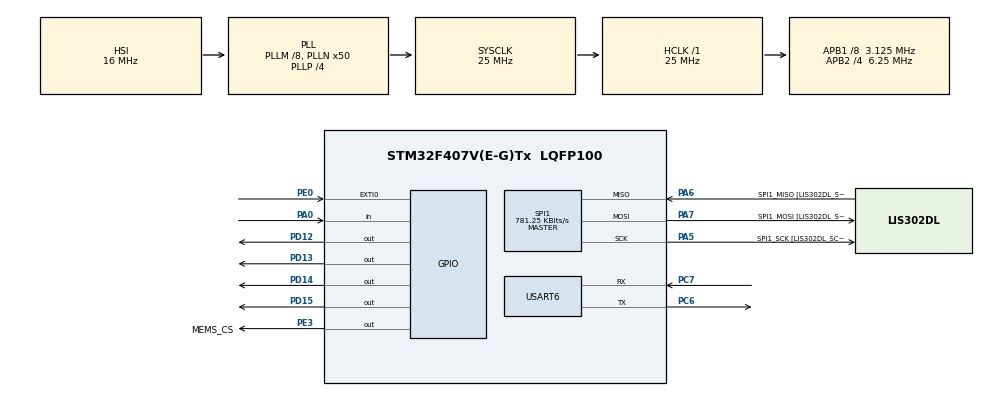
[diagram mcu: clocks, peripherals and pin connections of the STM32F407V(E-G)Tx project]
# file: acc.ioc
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Mcu.Family=STM32F4
Mcu.Name=STM32F407V(E-G)Tx
Mcu.Package=LQFP100
NVIC.PriorityGroup=NVIC_PRIORITYGROUP_0
NVIC.SPI1_IRQn=true\:0\:0\:false\:false\:true\:true\:true
NVIC.USART6_IRQn=true\:0\:0\:false\:false\:true\:true\:true
PA0-WKUP.Signal=GPIO_Input
PA5.GPIO_Label=SPI1_SCK [LIS302DL_SCL/SPC]
PA5.GPIO_Mode=GPIO_MODE_AF_PP
PA5.GPIO_PuPd=GPIO_NOPULL
PA5.GPIO_Speed=GPIO_SPEED_FREQ_LOW
PA5.Mode=Full_Duplex_Master
PA5.Signal=SPI1_SCK
PA6.GPIO_Label=SPI1_MISO [LIS302DL_SDO]
PA6.GPIO_Mode=GPIO_MODE_AF_PP
PA6.GPIO_PuPd=GPIO_NOPULL
PA6.GPIO_Speed=GPIO_SPEED_FREQ_LOW
PA6.Mode=Full_Duplex_Master
PA6.Signal=SPI1_MISO
PA7.GPIO_Label=SPI1_MOSI [LIS302DL_SDA/SDI/SDO]
PA7.GPIO_Mode=GPIO_MODE_AF_PP
PA7.GPIO_PuPd=GPIO_NOPULL
PA7.GPIO_Speed=GPIO_SPEED_FREQ_LOW
PA7.Mode=Full_Duplex_Master
PA7.Signal=SPI1_MOSI
PC6.Mode=Asynchronous
PC6.Signal=USART6_TX
PC7.Mode=Asynchronous
PC7.Signal=USART6_RX
PD12.Signal=GPIO_Output
PD13.Signal=GPIO_Output
PD14.Signal=GPIO_Output
PD15.Signal=GPIO_Output
PE0.Signal=GPXTI0
PE3.GPIO_Label=MEMS_CS
PE3.Signal=GPIO_Output
ProjectManager.HeapSize=0x200
ProjectManager.StackSize=0x400
ProjectManager.TargetToolchain=Makefile
RCC.48MHZClocksFreq_Value=33333333.333333332
RCC.AHBFreq_Value=25000000
RCC.APB1CLKDivider=RCC_HCLK_DIV8
RCC.APB1Freq_Value=3125000
RCC.APB1TimFreq_Value=6250000
RCC.APB2CLKDivider=RCC_HCLK_DIV4
RCC.APB2Freq_Value=6250000
RCC.APB2TimFreq_Value=12500000
RCC.CortexFreq_Value=25000000
RCC.HCLKFreq_Value=25000000
RCC.HSE_VALUE=8000000
RCC.HSI_VALUE=16000000
RCC.PLLM=8
RCC.PLLN=50
RCC.PLLP=RCC_PLLP_DIV4
RCC.PLLQ=3
RCC.SYSCLKFreq_VALUE=25000000
RCC.SYSCLKSource=RCC_SYSCLKSOURCE_PLLCLK
RCC.VCOOutputFreq_Value=100000000
SPI1.BaudRatePrescaler=SPI_BAUDRATEPRESCALER_8
SPI1.BaudRatePrescaler-Full_Duplex_Master=SPI_BAUDRATEPRESCALER_2
SPI1.CalculateBaudRate=781.25 KBits/s
SPI1.CalculateBaudRate-Full_Duplex_Master=42.0 MBits/s
SPI1.Direction=SPI_DIRECTION_2LINES
SPI1.Mode=SPI_MODE_MASTER
SPI1.Mode-Full_Duplex_Master=SPI_MODE_MASTER
SPI1.VirtualType=VM_MASTER
USART6.VirtualMode=VM_ASYNC
board=STM32F407G-DISC1

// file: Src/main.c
/* USER CODE BEGIN Header */
/**
  ******************************************************************************
  * @file           : main.c
  * @brief          : Main program body
  ******************************************************************************
  * @attention
  *
  * <h2><center>&copy; Copyright (c) 2020 STMicroelectronics.
  * All rights reserved.</center></h2>
  *
  * This software component is licensed by ST under Ultimate Liberty license
  * SLA0044, the "License"; You may not use this file except in compliance with
  * the License. You may obtain a copy of the License at:
  *                             www.st.com/SLA0044
  *
  ******************************************************************************
  */
/* USER CODE END Header */

#include "main.h"

/* USER CODE BEGIN Includes */
#include "LIS3DSH.h"

/* USER CODE END Includes */

SPI_HandleTypeDef hspi1;

UART_HandleTypeDef huart6;

void SystemClock_Config(void);
static void MX_GPIO_Init(void);
static void MX_SPI1_Init(void);
static void MX_USART6_UART_Init(void);

/* USER CODE BEGIN 0 */

LIS3DSH_DataScaled accData;
int8_t accMove[3];

void convertAccData(int8_t accMove[3], LIS3DSH_DataScaled *accData)
{
  accMove[0] = (int8_t) (accData->x / 10);
  if (accMove[0] < -100)
  {
    accMove[0] = -100;
  }
  else if (accMove[0] > 100)
  {
    accMove[0] = 100;
  }
  accMove[1] = (int8_t) (accData->y / 10);
  if (accMove[1] < -100)
  {
    accMove[1] = -100;
  }
  else if (accMove[1] > 100)
  {
    accMove[1] = 100;
  }
  accMove[2] = (int8_t) (accData->z / 10);
  if (accMove[2] < -100)
  {
    accMove[2] = -100;
  }
  else if (accMove[2] > 100)
  {
    accMove[2] = 100;
  }
}

// uint8_t recv_char = 0;

// void HAL_UART_RxCpltCallback(UART_HandleTypeDef *huart)
// {
//   switch (recv_car)
//   {
//   case 'q':
//     // Changer la vitesse du timer 2 (10 fois plus rapide)
//     __HAL_TIM_SET_AUTORELOAD(&htim2, 499);
//     // Restart counter
//     __HAL_TIM_SET_COUNTER(&htim2, 0);
//     break;
//   case 's':
//     // Changer la vitesse du timer 2 (vitesse initiale)
//     __HAL_TIM_SET_AUTORELOAD(&htim2, 4999);
//     // Restart counter
//     __HAL_TIM_SET_COUNTER(&htim2, 0);
//     break;
//   default:
//     break;
//   }
//   // Restart receiving data on USART6
//   HAL_UART_Receive_IT(&huart6, &recv_char, 1);
// }
/* USER CODE END 0 */

int main(void)
{
  /* USER CODE BEGIN 1 */
  LIS3DSH_InitTypeDef accConfigDef;
  /* USER CODE END 1 */

  /* MCU Configuration--------------------------------------------------------*/

  /* Reset of all peripherals int8_t[3], Initializes the Flash interface and the Systick. */
  HAL_Init();

  /* Configure the system clock */
  SystemClock_Config();

  /* Initialize all configured peripherals */
  MX_GPIO_Init();
  MX_SPI1_Init();
  MX_USART6_UART_Init();
  /* USER CODE BEGIN 2 */
  accConfigDef.dataRate = LIS3DSH_DATARATE_12_5;
  accConfigDef.fullScale = LIS3DSH_FULLSCALE_4;
  accConfigDef.antiAliasingBW = LIS3DSH_FILTER_BW_50;
  accConfigDef.enableAxes = LIS3DSH_XYZ_ENABLE;
  accConfigDef.interruptEnable = false;
  LIS3DSH_Init(&hspi1, &accConfigDef);

  LIS3DSH_X_calibrate(-980.0, 990.0);
  LIS3DSH_Y_calibrate(-1010.0, 955.0);
  LIS3DSH_Z_calibrate(-980.0, 975.0);
  // HAL_UART_Receive_IT(&huart6, &recv_car, 1);

  /* USER CODE END 2 */

  /* Infinite loop */
  while (1)
  {

    /* USER CODE BEGIN 3 */
    if (LIS3DSH_PollDRDY(1000))
    {
      accData = LIS3DSH_GetDataScaled();
      HAL_GPIO_TogglePin(GPIOD, GPIO_PIN_12);
    }
    convertAccData(&accMove, &accData);
    HAL_UART_Transmit(&huart6, &accMove, 3, 1000);
  }
  /* USER CODE END 3 */
}

void SystemClock_Config(void)
{
  RCC_OscInitTypeDef RCC_OscInitStruct = {0};
  RCC_ClkInitTypeDef RCC_ClkInitStruct = {0};

  /** Configure the main internal regulator output voltage
  */
  __HAL_RCC_PWR_CLK_ENABLE();
  __HAL_PWR_VOLTAGESCALING_CONFIG(PWR_REGULATOR_VOLTAGE_SCALE1);
  /** Initializes the CPU, AHB and APB busses clocks
  */
  RCC_OscInitStruct.OscillatorType = RCC_OSCILLATORTYPE_HSI;
  RCC_OscInitStruct.HSIState = RCC_HSI_ON;
  RCC_OscInitStruct.HSICalibrationValue = RCC_HSICALIBRATION_DEFAULT;
  RCC_OscInitStruct.PLL.PLLState = RCC_PLL_ON;
  RCC_OscInitStruct.PLL.PLLSource = RCC_PLLSOURCE_HSI;
  RCC_OscInitStruct.PLL.PLLM = 8;
  RCC_OscInitStruct.PLL.PLLN = 50;
  RCC_OscInitStruct.PLL.PLLP = RCC_PLLP_DIV4;
  RCC_OscInitStruct.PLL.PLLQ = 3;
  if (HAL_RCC_OscConfig(&RCC_OscInitStruct) != HAL_OK)
  {
    Error_Handler();
  }
  /** Initializes the CPU, AHB and APB busses clocks
  */
  RCC_ClkInitStruct.ClockType = RCC_CLOCKTYPE_HCLK | RCC_CLOCKTYPE_SYSCLK | RCC_CLOCKTYPE_PCLK1 | RCC_CLOCKTYPE_PCLK2;
  RCC_ClkInitStruct.SYSCLKSource = RCC_SYSCLKSOURCE_PLLCLK;
  RCC_ClkInitStruct.AHBCLKDivider = RCC_SYSCLK_DIV1;
  RCC_ClkInitStruct.APB1CLKDivider = RCC_HCLK_DIV8;
  RCC_ClkInitStruct.APB2CLKDivider = RCC_HCLK_DIV4;

  if (HAL_RCC_ClockConfig(&RCC_ClkInitStruct, FLASH_LATENCY_0) != HAL_OK)
  {
    Error_Handler();
  }
}

static void MX_SPI1_Init(void)
{

  /* SPI1 parameter configuration*/
  hspi1.Instance = SPI1;
  hspi1.Init.Mode = SPI_MODE_MASTER;
  hspi1.Init.Direction = SPI_DIRECTION_2LINES;
  hspi1.Init.DataSize = SPI_DATASIZE_8BIT;
  hspi1.Init.CLKPolarity = SPI_POLARITY_LOW;
  hspi1.Init.CLKPhase = SPI_PHASE_1EDGE;
  hspi1.Init.NSS = SPI_NSS_SOFT;
  hspi1.Init.BaudRatePrescaler = SPI_BAUDRATEPRESCALER_8;
  hspi1.Init.FirstBit = SPI_FIRSTBIT_MSB;
  hspi1.Init.TIMode = SPI_TIMODE_DISABLE;
  hspi1.Init.CRCCalculation = SPI_CRCCALCULATION_DISABLE;
  hspi1.Init.CRCPolynomial = 10;
  if (HAL_SPI_Init(&hspi1) != HAL_OK)
  {
    Error_Handler();
  }
}

static void MX_USART6_UART_Init(void)
{

  huart6.Instance = USART6;
  huart6.Init.BaudRate = 115200;
  huart6.Init.WordLength = UART_WORDLENGTH_8B;
  huart6.Init.StopBits = UART_STOPBITS_1;
  huart6.Init.Parity = UART_PARITY_NONE;
  huart6.Init.Mode = UART_MODE_TX_RX;
  huart6.Init.HwFlowCtl = UART_HWCONTROL_NONE;
  huart6.Init.OverSampling = UART_OVERSAMPLING_16;
  if (HAL_UART_Init(&huart6) != HAL_OK)
  {
    Error_Handler();
  }
}

static void MX_GPIO_Init(void)
{
  GPIO_InitTypeDef GPIO_InitStruct = {0};

  /* GPIO Ports Clock Enable */
  __HAL_RCC_GPIOE_CLK_ENABLE();
  __HAL_RCC_GPIOA_CLK_ENABLE();
  __HAL_RCC_GPIOD_CLK_ENABLE();
  __HAL_RCC_GPIOC_CLK_ENABLE();

  /*Configure GPIO pin Output Level */
  HAL_GPIO_WritePin(MEMS_CS_GPIO_Port, MEMS_CS_Pin, GPIO_PIN_RESET);

  /*Configure GPIO pin Output Level */
  HAL_GPIO_WritePin(GPIOD, GPIO_PIN_12 | GPIO_PIN_13 | GPIO_PIN_14 | GPIO_PIN_15, GPIO_PIN_RESET);

  /*Configure GPIO pin : MEMS_CS_Pin */
  GPIO_InitStruct.Pin = MEMS_CS_Pin;
  GPIO_InitStruct.Mode = GPIO_MODE_OUTPUT_PP;
  GPIO_InitStruct.Pull = GPIO_NOPULL;
  GPIO_InitStruct.Speed = GPIO_SPEED_FREQ_LOW;
  HAL_GPIO_Init(MEMS_CS_GPIO_Port, &GPIO_InitStruct);

  /*Configure GPIO pin : PA0 */
  GPIO_InitStruct.Pin = GPIO_PIN_0;
  GPIO_InitStruct.Mode = GPIO_MODE_INPUT;
  GPIO_InitStruct.Pull = GPIO_NOPULL;
  HAL_GPIO_Init(GPIOA, &GPIO_InitStruct);

  /*Configure GPIO pins : PD12 PD13 PD14 PD15 */
  GPIO_InitStruct.Pin = GPIO_PIN_12 | GPIO_PIN_13 | GPIO_PIN_14 | GPIO_PIN_15;
  GPIO_InitStruct.Mode = GPIO_MODE_OUTPUT_PP;
  GPIO_InitStruct.Pull = GPIO_NOPULL;
  GPIO_InitStruct.Speed = GPIO_SPEED_FREQ_LOW;
  HAL_GPIO_Init(GPIOD, &GPIO_InitStruct);

  /*Configure GPIO pin : PE0 */
  GPIO_InitStruct.Pin = GPIO_PIN_0;
  GPIO_InitStruct.Mode = GPIO_MODE_IT_RISING;
  GPIO_InitStruct.Pull = GPIO_NOPULL;
  HAL_GPIO_Init(GPIOE, &GPIO_InitStruct);
}

void Error_Handler(void)
{
}

/************************ (C) COPYRIGHT STMicroelectronics *****END OF FILE****/
